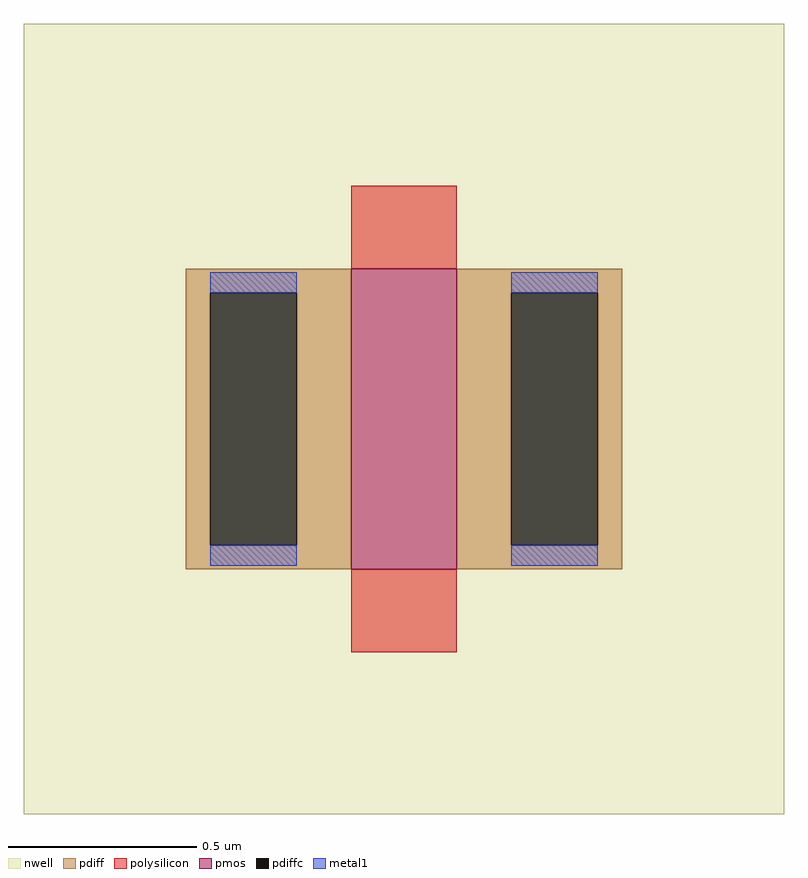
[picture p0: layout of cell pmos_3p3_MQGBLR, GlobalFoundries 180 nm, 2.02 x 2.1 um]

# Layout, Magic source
magic
tech gf180mcuC
magscale 1 10
<< nwell >>
rect -202 -210 202 210
<< pmos >>
rect -28 -80 28 80
<< pdiff >>
rect -116 67 -28 80
rect -116 -67 -103 67
rect -57 -67 -28 67
rect -116 -80 -28 -67
rect 28 67 116 80
rect 28 -67 57 67
rect 103 -67 116 67
rect 28 -80 116 -67
<< pdiffc >>
rect -103 -67 -57 67
rect 57 -67 103 67
<< polysilicon >>
rect -28 80 28 124
rect -28 -124 28 -80
<< metal1 >>
rect -103 67 -57 78
rect -103 -78 -57 -67
rect 57 67 103 78
rect 57 -78 103 -67
<< properties >>
string gencell pmos_3p3
string library gf180mcu
string parameters w 0.8 l 0.280 m 1 nf 1 diffcov 100 polycov 100 guard 0 glc 0 grc 0 gtc 0 gbc 0 tbcov 100 rlcov 100 topc 0 botc 0 poverlap 0 doverlap 1 lmin 0.28 wmin 0.22 full_metal 0 compatible {pmos_3p3 pmos_6p0}
<< end >>
